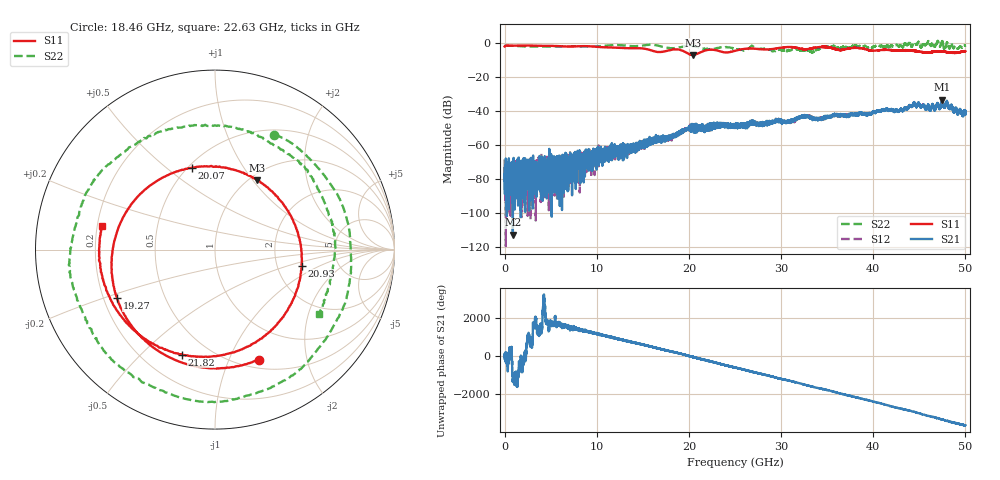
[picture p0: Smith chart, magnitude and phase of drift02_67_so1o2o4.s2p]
!Created with skrf (http://scikit-rf.org).
# Hz S RI R 50.0
!freq ReS11 ImS11 ReS21 ImS21 ReS12 ImS12 ReS22 ImS22
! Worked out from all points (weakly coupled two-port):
!   10001 points, 300 kHz to 50 GHz, reference 50 ohm
!   highest |S21| = -33.29 dB at 47.51 GHz (marker M1); lowest = -112.7 dB at 895.3 MHz (marker M2)
!   lowest |S11| = -6.9 dB at 20.41 GHz (marker M3), VSWR 2.64, Z = 54.2 + j52.4 ohm
!   |S11| at or under -10 dB: nowhere
!   |S22| runs from -5.3 to 1.6 dB; largest |S21 - S12| = 0.0035
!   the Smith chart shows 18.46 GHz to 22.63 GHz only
!   S11 on the Smith chart (normalised r, x): 18.46 GHz: 0.60, -1.29; 19.27 GHz: 0.25, -0.22; 20.07 GHz: 0.52, +0.62; 20.93 GHz: 2.75, -0.65; 21.82 GHz: 0.36, -0.67; 22.63 GHz: 0.22, +0.10
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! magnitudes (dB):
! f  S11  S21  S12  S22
! 300 kHz  -2.0  -73.4  -68.3  -1.3
! 280.3 MHz  -1.4  -82.3  -74.3  -1.3
! 895.3 MHz  -1.5  -112.7  -81.4  -1.5
! 4.345 GHz  -1.6  -70.5  -70.7  -2.0
! 8.335 GHz  -1.7  -69.0  -64.4  -1.9
! 16.67 GHz  -5.2  -56.7  -57.1  -1.5
! 18.46 GHz  -3.6  -54.1  -54.0  -2.8
! 19.27 GHz  -4.3  -51.7  -52.7  -2.1
! 20.07 GHz  -6.5  -49.1  -49.2  -1.5
! 20.41 GHz  -6.9  -49.8  -50.0  -1.8
! 20.93 GHz  -6.2  -50.6  -50.4  -2.2
! 21.82 GHz  -4.2  -49.7  -49.3  -3.5
! 22.63 GHz  -3.8  -49.7  -48.1  -3.3
! 25 GHz  -4.5  -49.0  -49.0  -3.2
! 26.12 GHz  -3.3  -48.7  -48.3  -4.3
! 26.9 GHz  -3.2  -45.8  -46.0  -1.7
! 33.34 GHz  -3.0  -43.7  -43.5  -5.3
! 34.89 GHz  -2.1  -43.3  -43.5  -2.3
! 41.67 GHz  -4.0  -39.3  -39.5  -2.2
! 44.42 GHz  -4.2  -35.3  -34.7  0.2
! 47.51 GHz  -4.8  -33.3  -33.7  1.6
! 50 GHz  -4.7  -41.4  -39.5  -1.5
